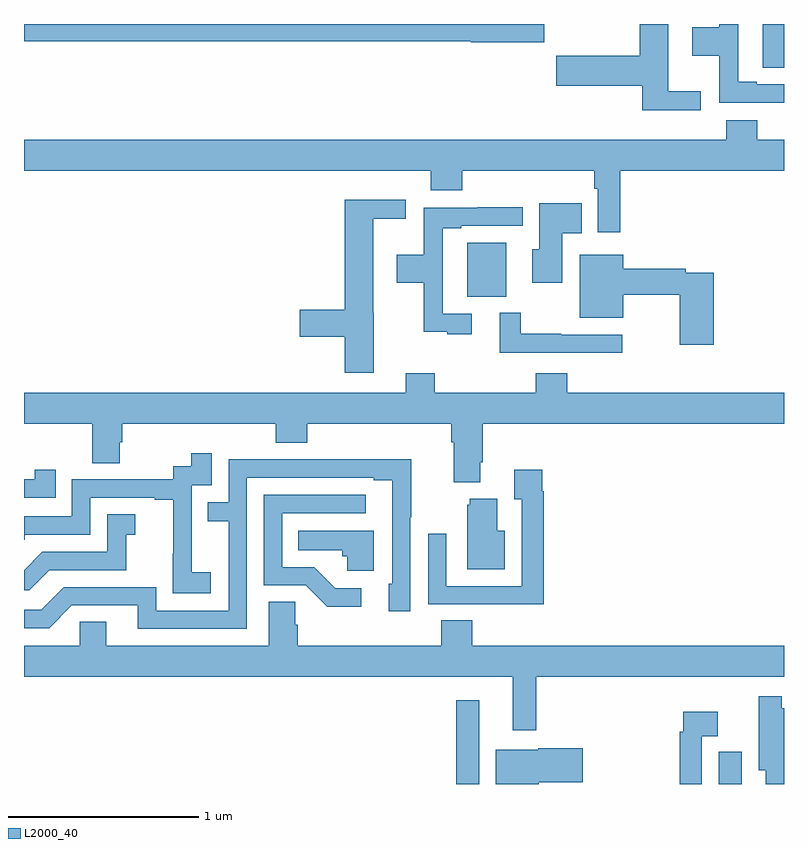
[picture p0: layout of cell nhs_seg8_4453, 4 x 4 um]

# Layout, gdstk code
import gdstk
lib = gdstk.Library(unit=1e-6, precision=1e-09)
def R(c, l, rs):  # rectangles x0, y0, x1, y1
    for r in rs: c.add(gdstk.rectangle(r[:2], r[2:], *l))
def P(c, l, *ps):  # polygons
    for p in ps: c.add(gdstk.Polygon(p, *l))
L2000_40 = (2000, 40)

nhs_seg8_4453 = lib.new_cell('nhs_seg8_4453')
R(nhs_seg8_4453, L2000_40, [(383.274,1151.9,383.395,1152.34), (384.656,1151.9,384.778,1152.071), (383.333,1154.465,383.539,1154.749), (384.887,1155.671,385,1155.9)])
P(nhs_seg8_4453, L2000_40, [(383.737,1155.9),(381,1155.9),(381,1155.808),(383.352,1155.808),(383.352,1155.803),(383.737,1155.803)],
  [(384.562,1155.545),(384.391,1155.545),(384.391,1155.9),(384.242,1155.9),(384.242,1155.733),(383.802,1155.733),(383.802,1155.575),(384.254,1155.575),(384.254,1155.446),(384.562,1155.446)],
  [(385,1155.582),(384.856,1155.582),(384.856,1155.595),(384.759,1155.595),(384.759,1155.9),(384.658,1155.9),(384.658,1155.882),(384.516,1155.882),(384.516,1155.734),(384.658,1155.734),(384.658,1155.486),(384.943,1155.486),(384.943,1155.485),(385,1155.485)],
  [(384.137,1155.128),(385,1155.128),(385,1155.292),(384.86,1155.292),(384.86,1155.394),(384.695,1155.394),(384.695,1155.292),(381,1155.292),(381,1155.128),(383.141,1155.128),(383.141,1155.026),(383.306,1155.026),(383.306,1155.128),(384.001,1155.128),(384.001,1155.032),(384.021,1155.032),(384.021,1154.805),(384.137,1154.805)],
  [(382.84,1154.379),(382.837,1154.379),(382.837,1154.876),(383.008,1154.876),(383.008,1154.974),(382.688,1154.974),(382.688,1154.396),(382.452,1154.396),(382.452,1154.254),(382.688,1154.254),(382.688,1154.064),(382.84,1154.064)],
  [(383.833,1154.798),(383.936,1154.798),(383.936,1154.956),(383.711,1154.956),(383.711,1154.715),(383.675,1154.715),(383.675,1154.537),(383.833,1154.537)],
  [(383.356,1154.376),(383.205,1154.376),(383.205,1154.826),(383.302,1154.826),(383.302,1154.838),(383.626,1154.838),(383.626,1154.936),(383.389,1154.936),(383.389,1154.934),(383.104,1154.934),(383.104,1154.686),(382.962,1154.686),(382.962,1154.539),(383.104,1154.539),(383.104,1154.279),(383.228,1154.279),(383.228,1154.268),(383.356,1154.268)],
  [(384.629,1154.592),(384.482,1154.592),(384.482,1154.612),(384.154,1154.612),(384.154,1154.686),(383.924,1154.686),(383.924,1154.354),(384.154,1154.354),(384.154,1154.476),(384.451,1154.476),(384.451,1154.211),(384.629,1154.211)],
  [(384.148,1154.265),(383.828,1154.265),(383.828,1154.27),(383.614,1154.27),(383.614,1154.38),(383.504,1154.38),(383.504,1154.169),(384.148,1154.169)],
  [(383.401,1153.594),(383.414,1153.594),(383.414,1153.796),(385,1153.796),(385,1153.96),(383.858,1153.96),(383.858,1154.062),(383.693,1154.062),(383.693,1153.96),(383.162,1153.96),(383.162,1154.062),(383.009,1154.062),(383.009,1153.96),(381,1153.96),(381,1153.796),(381.358,1153.796),(381.358,1153.588),(381.505,1153.588),(381.505,1153.698),(381.518,1153.698),(381.518,1153.796),(382.325,1153.796),(382.325,1153.697),(382.49,1153.697),(382.49,1153.796),(383.249,1153.796),(383.249,1153.7),(383.261,1153.7),(383.261,1153.487),(383.401,1153.487)],
  [(381.982,1153.015),(381.884,1153.015),(381.884,1153.244),(381.882,1153.244),(381.882,1153.473),(381.987,1153.473),(381.987,1153.642),(381.879,1153.642),(381.879,1153.572),(381.786,1153.572),(381.786,1153.503),(381.252,1153.503),(381.252,1153.308),(381,1153.308),(381,1153.185),(381.003,1153.185),(381.003,1153.212),(381.348,1153.212),(381.348,1153.407),(381.689,1153.407),(381.689,1153.395),(381.785,1153.395),(381.785,1153.111),(381.784,1153.111),(381.784,1152.905),(381.982,1152.905)],
  [(382.173,1153.512),(382.841,1153.512),(382.841,1153.5),(382.938,1153.5),(382.938,1152.954),(382.919,1152.954),(382.919,1152.81),(383.034,1152.81),(383.034,1153.303),(383.037,1153.303),(383.037,1153.61),(382.573,1153.61),(382.573,1153.608),(382.077,1153.608),(382.077,1153.383),(381.967,1153.383),(381.967,1153.282),(382.077,1153.282),(382.077,1152.813),(381.696,1152.813),(381.696,1152.936),(381.21,1152.936),(381.09,1152.816),(381,1152.816),(381,1152.72),(381.132,1152.72),(381.252,1152.84),(381.599,1152.84),(381.599,1152.717),(382.173,1152.717)],
  [(383.735,1153.442),(383.728,1153.442),(383.728,1153.555),(383.579,1153.555),(383.579,1153.399),(383.619,1153.399),(383.619,1152.942),(383.223,1152.942),(383.223,1153.216),(383.127,1153.216),(383.127,1152.846),(383.443,1152.846),(383.443,1152.845),(383.735,1152.845)],
  [(381.167,1153.555),(381.056,1153.555),(381.056,1153.503),(381,1153.503),(381,1153.407),(381.167,1153.407)],
  [(382.774,1152.93),(382.639,1152.93),(382.528,1153.041),(382.359,1153.041),(382.359,1153.326),(382.798,1153.326),(382.798,1153.422),(382.263,1153.422),(382.263,1152.945),(382.482,1152.945),(382.595,1152.833),(382.774,1152.833)],
  [(383.53,1153.234),(383.491,1153.234),(383.491,1153.402),(383.345,1153.402),(383.345,1153.371),(383.333,1153.371),(383.333,1153.031),(383.53,1153.031)],
  [(381.133,1153.026),(381.537,1153.026),(381.537,1153.211),(381.586,1153.211),(381.586,1153.321),(381.438,1153.321),(381.438,1153.122),(381.096,1153.122),(381,1153.026),(381,1152.921),(381.028,1152.921)],
  [(382.84,1153.234),(382.444,1153.234),(382.444,1153.13),(382.675,1153.13),(382.675,1153.098),(382.701,1153.098),(382.701,1153.022),(382.84,1153.022)],
  [(383.195,1152.761),(383.195,1152.628),(382.442,1152.628),(382.442,1152.737),(382.428,1152.737),(382.428,1152.86),(382.289,1152.86),(382.289,1152.628),(381.433,1152.628),(381.433,1152.755),(381.294,1152.755),(381.294,1152.628),(381,1152.628),(381,1152.464),(383.573,1152.464),(383.573,1152.183),(383.695,1152.183),(383.695,1152.464),(385,1152.464),(385,1152.628),(383.36,1152.628),(383.36,1152.761)],
  [(385,1152.298),(384.988,1152.298),(384.988,1152.361),(384.866,1152.361),(384.866,1151.972),(384.905,1151.972),(384.905,1151.9),(385,1151.9)],
  [(384.567,1152.152),(384.65,1152.152),(384.65,1152.28),(384.471,1152.28),(384.471,1152.176),(384.451,1152.176),(384.451,1151.9),(384.567,1151.9)],
  [(383.71,1151.909),(383.941,1151.909),(383.941,1152.087),(383.706,1152.087),(383.706,1152.079),(383.483,1152.079),(383.483,1151.9),(383.71,1151.9)])

lib.write_gds('nhs_seg8_4453.gds')
